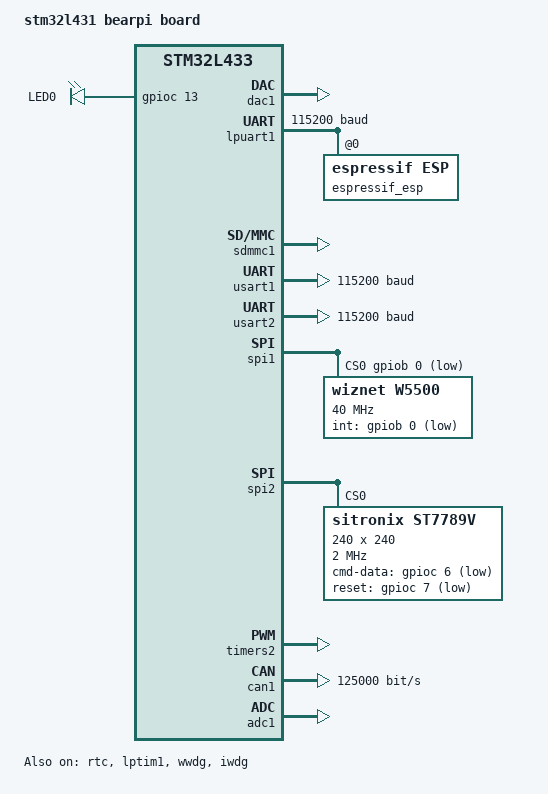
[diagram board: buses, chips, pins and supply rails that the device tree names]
/*
 * Copyright (c) 2017 Linaro Limited
 *
 * SPDX-License-Identifier: Apache-2.0
 */

/dts-v1/;
#include <st/l4/stm32l433Xc.dtsi>

/ {
	model = "stm32l431 bearpi board";
	compatible = "st,stm32l433";

	chosen {
		zephyr,console = &usart1;
		zephyr,shell-uart = &usart1;
		zephyr,sram = &sram0;
		zephyr,flash = &flash0;
	};

	leds{
		compatible = "gpio-leds";
		led0: led_0 {
			gpios = <&gpioc 13 GPIO_ACTIVE_HIGH>;
			label = "LED0";
		};
	};

	soc {
		dac1: dac@40007400 {
			compatible = "st,stm32-dac";
			reg = <0x40007400 0x400>;
			clocks = <&rcc STM32_CLOCK_BUS_APB1 0x20000000>;
			status = "disabled";
			label = "DAC_1";
			#io-channel-cells = <1>;
		};

		lpuart1: serial@40008000 {
			compatible = "st,stm32-lpuart", "st,stm32-uart";
			#address-cells = <1>;
			#size-cells = <0>;
			reg = <0x40008000 0x400>;
			clocks = <&rcc STM32_CLOCK_BUS_APB1_2 0x00000001>;
			interrupts = <70 0>;
			status = "disabled";
			label = "LPUART_1";
		};

		sdmmc1: sdmmc@40012800 {
			compatible = "st,stm32-sdmmc";
			reg = <0x40012800 0x400>;
			clocks = <&rcc STM32_CLOCK_BUS_APB2 0x00000400>;
			status = "disabled";
			label = "SDMMC_1";
		};
	};
};

&lpuart1 {
	current-speed = <115200>;
	status = "okay";
	esp@0 {
		status = "okay";
		compatible = "espressif,esp";
		reg = <0x0>;
		label = "espressif_esp";
	};
};

&usart1 {
	current-speed = <115200>;
	status = "okay";
};

&usart2 {
	current-speed = <115200>;
	status = "okay";
};

&spi1 {
	status = "okay";
	cs-gpios = <&gpiob 0 GPIO_ACTIVE_LOW>;
	w5500@0 {
		compatible = "wiznet,w5500";
		label = "W5500";
		reg = <0>;
		spi-max-frequency = <40000000>;
		int-gpios = <&gpiob 0 GPIO_ACTIVE_LOW>;
	};
};

&spi2 {
	status = "okay";
	st7789v@0 {
		compatible = "sitronix,st7789v";
		label = "ST7789V";
		spi-max-frequency = <2000000>;
		reg = <0>;
		cmd-data-gpios = <&gpioc 6 (GPIO_ACTIVE_LOW)>;	/* D9 */
		reset-gpios = <&gpioc 7 (GPIO_ACTIVE_LOW)>;	/* D8 */
		width = <240>;
		height = <240>;
		x-offset = <0>;
		y-offset = <35>;
		vcom = <0x3D>;
		gctrl = <0x72>;
		vrhs = <0x19>;
		vdvs = <0x20>;
		mdac = <0x00>;
		gamma = <0x01>;
		colmod = <0x65>;
		lcm = <0x2c>;
		porch-param = [0c 0c 00 33 33];
		cmd2en-param = [5a 69 02 00];
		pwctrl1-param = [a4 a1];
		pvgam-param = [D0 04 0D 11 13 2B 3F 54 4C 18 0D 0B 1F 23];
		nvgam-param = [D0 04 0C 11 13 2C 3F 44 51 2F 1F 1F 20 23];
		ram-param = [00 F0];
		rgb-param = [40 02 14];
	};
};

&timers2 {
	status = "okay";

	pwm {
		status = "okay";
	};
};

&can1 {
	bus-speed = <125000>;
	status = "okay";
};

&rtc {
	status = "okay";
};

&lptim1 {
	status = "okay";
};

&adc1 {
	status = "okay";
};

&dac1 {
	status = "okay";
};

&wwdg {
	status = "okay";
};

&iwdg {
	status = "okay";
};

&sdmmc1 {
	status = "okay";
};


